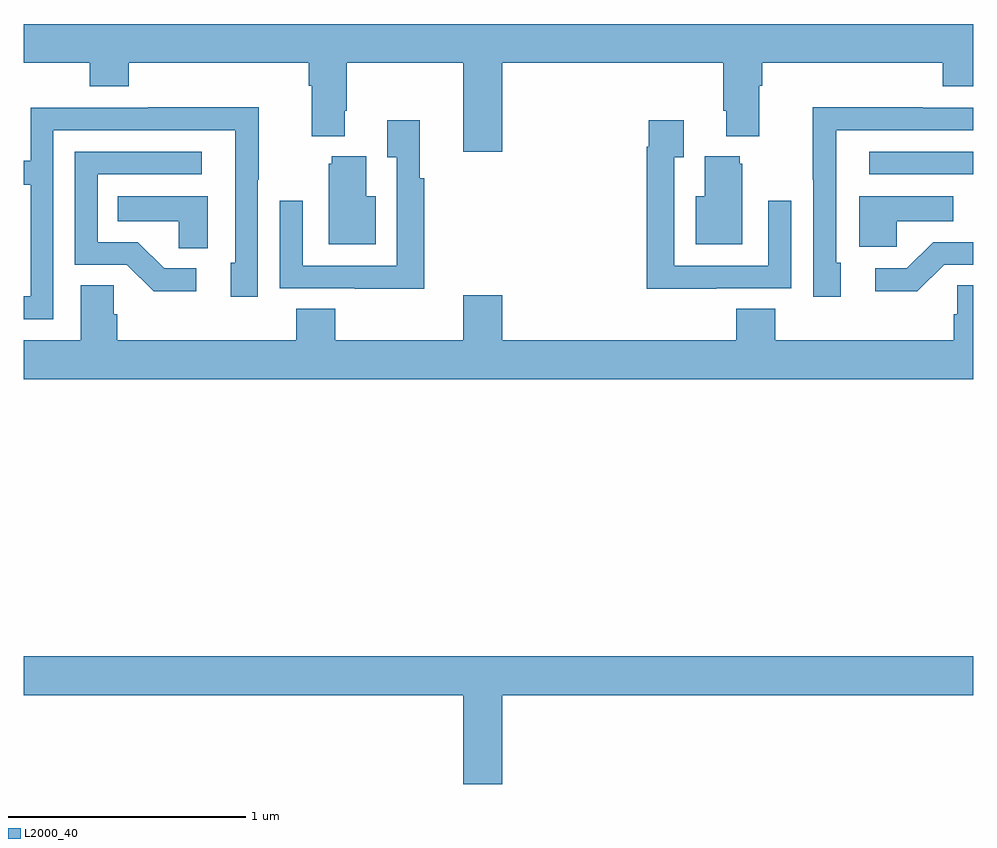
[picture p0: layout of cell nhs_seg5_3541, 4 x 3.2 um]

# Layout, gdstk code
import gdstk
lib = gdstk.Library(unit=1e-6, precision=1e-09)
def R(c, l, rs):  # rectangles x0, y0, x1, y1
    for r in rs: c.add(gdstk.rectangle(r[:2], r[2:], *l))
def P(c, l, *ps):  # polygons
    for p in ps: c.add(gdstk.Polygon(p, *l))
L2000_40 = (2000, 40)

nhs_seg5_3541 = lib.new_cell('nhs_seg5_3541')
R(nhs_seg5_3541, L2000_40, [(322.563,889.59,323,889.686)])
P(nhs_seg5_3541, L2000_40, [(321.016,890.06),(321.947,890.06),(321.947,889.858),(321.959,889.858),(321.959,889.751),(322.099,889.751),(322.099,889.964),(322.112,889.964),(322.112,890.06),(322.871,890.06),(322.871,889.961),(323,889.961),(323,890.224),(319,890.224),(319,890.06),(319.277,890.06),(319.277,889.961),(319.442,889.961),(319.442,890.06),(320.201,890.06),(320.201,889.964),(320.213,889.964),(320.213,889.751),(320.353,889.751),(320.353,889.858),(320.361,889.858),(320.361,890.06),(320.852,890.06),(320.852,889.686),(321.016,889.686)],
  [(319.125,889.776),(319.89,889.776),(319.89,889.218),(319.871,889.218),(319.871,889.074),(319.986,889.074),(319.986,889.567),(319.989,889.567),(319.989,889.874),(319.525,889.874),(319.525,889.872),(319.029,889.872),(319.029,889.647),(319,889.647),(319,889.546),(319.029,889.546),(319.029,889.077),(319,889.077),(319,888.981),(319.125,888.981)],
  [(322.441,889.218),(322.422,889.218),(322.422,889.522),(322.423,889.522),(322.423,889.776),(323,889.776),(323,889.872),(322.787,889.872),(322.787,889.874),(322.324,889.874),(322.324,889.567),(322.326,889.567),(322.326,889.074),(322.441,889.074)],
  [(320.687,889.574),(320.669,889.574),(320.669,889.819),(320.531,889.819),(320.531,889.663),(320.571,889.663),(320.571,889.206),(320.175,889.206),(320.175,889.48),(320.079,889.48),(320.079,889.11),(320.395,889.11),(320.395,889.109),(320.687,889.109)],
  [(321.917,889.11),(322.233,889.11),(322.233,889.48),(322.137,889.48),(322.137,889.206),(321.741,889.206),(321.741,889.663),(321.781,889.663),(321.781,889.819),(321.633,889.819),(321.633,889.706),(321.625,889.706),(321.625,889.109),(321.917,889.109)],
  [(319.726,889.194),(319.591,889.194),(319.48,889.305),(319.311,889.305),(319.311,889.59),(319.75,889.59),(319.75,889.686),(319.215,889.686),(319.215,889.209),(319.434,889.209),(319.547,889.097),(319.726,889.097)],
  [(322.027,889.635),(322.016,889.635),(322.016,889.666),(321.869,889.666),(321.869,889.498),(321.83,889.498),(321.83,889.295),(322.027,889.295)],
  [(320.482,889.498),(320.443,889.498),(320.443,889.666),(320.297,889.666),(320.297,889.635),(320.285,889.635),(320.285,889.295),(320.482,889.295)],
  [(319.774,889.498),(319.396,889.498),(319.396,889.394),(319.653,889.394),(319.653,889.279),(319.774,889.279)],
  [(322.677,889.394),(322.916,889.394),(322.916,889.498),(322.52,889.498),(322.52,889.286),(322.677,889.286)],
  [(322.878,889.209),(323,889.209),(323,889.305),(322.832,889.305),(322.721,889.194),(322.587,889.194),(322.587,889.097),(322.765,889.097)],
  [(323,889.124),(322.932,889.124),(322.932,889.001),(322.919,889.001),(322.919,888.892),(322.166,888.892),(322.166,889.025),(322.001,889.025),(322.001,888.892),(321.016,888.892),(321.016,889.081),(320.852,889.081),(320.852,888.892),(320.312,888.892),(320.312,889.025),(320.147,889.025),(320.147,888.892),(319.394,888.892),(319.394,889.001),(319.38,889.001),(319.38,889.124),(319.241,889.124),(319.241,888.892),(319,888.892),(319,888.728),(323,888.728)],
  [(321.016,887.396),(323,887.396),(323,887.56),(319,887.56),(319,887.396),(320.852,887.396),(320.852,887.022),(321.016,887.022)])

lib.write_gds('nhs_seg5_3541.gds')
